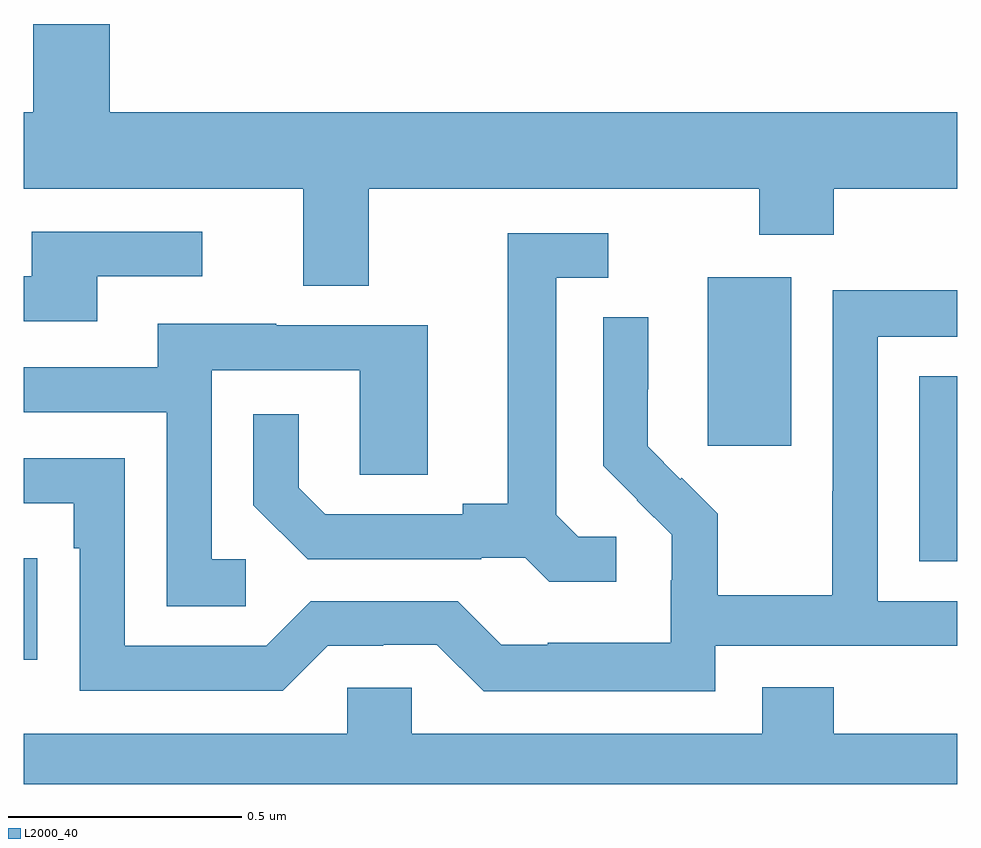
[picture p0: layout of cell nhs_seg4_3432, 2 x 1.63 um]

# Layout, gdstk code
import gdstk
lib = gdstk.Library(unit=1e-6, precision=1e-09)
def R(c, l, rs):  # rectangles x0, y0, x1, y1
    for r in rs: c.add(gdstk.rectangle(r[:2], r[2:], *l))
def P(c, l, *ps):  # polygons
    for p in ps: c.add(gdstk.Polygon(p, *l))
L2000_40 = (2000, 40)

nhs_seg4_3432 = lib.new_cell('nhs_seg4_3432')
R(nhs_seg4_3432, L2000_40, [(153,773.166,153.029,773.384), (154.919,773.377,155,773.774), (154.466,773.625,154.645,773.986)])
P(nhs_seg4_3432, L2000_40, [(153.739,774.176),(154.576,774.176),(154.576,774.077),(154.736,774.077),(154.736,774.176),(155,774.176),(155,774.34),(153.184,774.34),(153.184,774.529),(153.02,774.529),(153.02,774.34),(153,774.34),(153,774.176),(153.599,774.176),(153.599,773.968),(153.739,773.968)],
  [(153.157,773.988),(153.382,773.988),(153.382,774.084),(153.017,774.084),(153.017,773.988),(153,773.988),(153,773.892),(153.157,773.892)],
  [(154.27,773.43),(154.188,773.43),(154.141,773.477),(154.141,773.985),(154.252,773.985),(154.252,774.081),(154.037,774.081),(154.037,773.501),(153.941,773.501),(153.941,773.478),(153.646,773.478),(153.589,773.535),(153.589,773.692),(153.492,773.692),(153.492,773.498),(153.608,773.382),(153.98,773.382),(153.98,773.385),(154.074,773.385),(154.126,773.333),(154.27,773.333)],
  [(154.482,773.196),(155,773.196),(155,773.292),(154.83,773.292),(154.83,773.859),(155,773.859),(155,773.958),(154.734,773.958),(154.734,773.528),(154.732,773.528),(154.732,773.305),(154.487,773.305),(154.487,773.479),(154.41,773.556),(154.407,773.553),(154.337,773.624),(154.337,773.746),(154.338,773.746),(154.338,773.9),(154.242,773.9),(154.242,773.582),(154.315,773.509),(154.314,773.508),(154.388,773.434),(154.388,773.337),(154.386,773.337),(154.386,773.203),(154.123,773.203),(154.123,773.199),(154.023,773.199),(153.93,773.292),(153.615,773.292),(153.519,773.196),(153.216,773.196),(153.216,773.598),(153,773.598),(153,773.502),(153.107,773.502),(153.107,773.405),(153.12,773.405),(153.12,773.1),(153.555,773.1),(153.651,773.196),(153.77,773.196),(153.77,773.199),(153.885,773.199),(153.985,773.099),(154.482,773.099)],
  [(153.475,773.382),(153.402,773.382),(153.402,773.787),(153.72,773.787),(153.72,773.563),(153.865,773.563),(153.865,773.883),(153.541,773.883),(153.541,773.887),(153.287,773.887),(153.287,773.793),(153,773.793),(153,773.697),(153.306,773.697),(153.306,773.281),(153.475,773.281)],
  [(155,773.008),(154.736,773.008),(154.736,773.107),(154.583,773.107),(154.583,773.008),(153.831,773.008),(153.831,773.106),(153.693,773.106),(153.693,773.008),(153,773.008),(153,772.9),(155,772.9)])

lib.write_gds('nhs_seg4_3432.gds')
